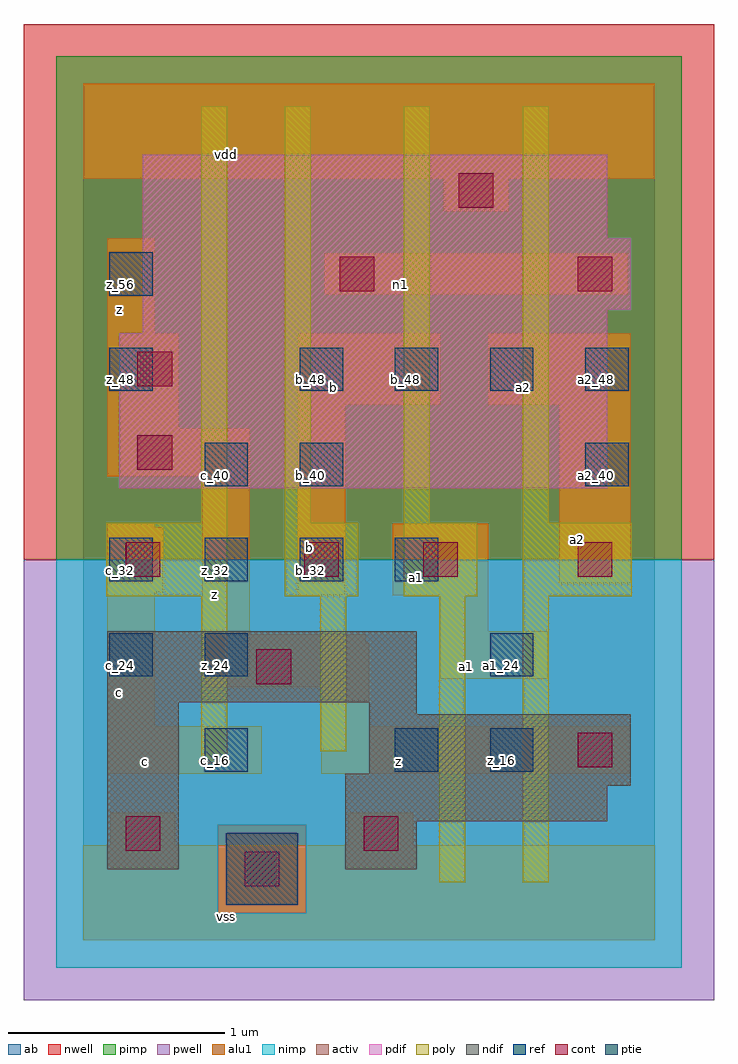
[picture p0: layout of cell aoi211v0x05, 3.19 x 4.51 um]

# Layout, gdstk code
import gdstk
lib = gdstk.Library(unit=1e-6, precision=2.5e-09)
def R(c, l, rs):  # rectangles x0, y0, x1, y1
    for r in rs: c.add(gdstk.rectangle(r[:2], r[2:], *l))
def A(c, l, x, y, w, h, nx, ny, dx, dy):  # array of equal rectangles
    R(c, l, [(x+i*dx, y+j*dy, x+i*dx+w, y+j*dy+h) for i in range(nx) for j in range(ny)])
ndif = (3, 0)
pdif = (4, 0)
ptie = (6, 0)
ref = (24, 0)
cont = (25, 0)
pwell = (41, 0)
nwell = (42, 0)
activ = (43, 0)
pimp = (44, 0)
nimp = (45, 0)
poly = (46, 0)
alu1 = (49, 0)
ab = (63, 0)

aoi211v0x05 = lib.new_cell('aoi211v0x05')
R(aoi211v0x05, ndif, [(0.11,0.33,0.44,1.1), (1.21,0.33,1.54,0.55), (1.21,0.55,2.42,0.715), (1.21,0.715,2.53,0.77), (1.32,0.77,2.53,1.045), (1.32,1.045,1.54,1.1), (0.11,1.1,1.54,1.43)])
R(aoi211v0x05, pdif, [(0.165,2.09,2.42,2.805), (0.275,2.805,2.42,2.915), (0.275,2.915,2.53,3.245), (0.275,3.245,2.42,3.63)])
R(aoi211v0x05, ptie, [(0.66,0.165,0.99,0.495)])
A(aoi211v0x05, ref, 0.12, 1.66, 0.2, 0.2, 4, 1, 0.44, 0)
A(aoi211v0x05, ref, 1, 2.54, 0.2, 0.2, 4, 1, 0.44, 0)
R(aoi211v0x05, ref, [(0.56,0.78,0.76,0.98), (1.44,0.78,1.64,0.98), (1.88,0.78,2.08,0.98), (0.12,1.22,0.32,1.42), (0.56,1.22,0.76,1.42), (1.88,1.22,2.08,1.42), (0.56,2.1,0.76,2.3), (1,2.1,1.2,2.3), (2.32,2.1,2.52,2.3), (0.12,2.54,0.32,2.74), (0.12,2.98,0.32,3.18)])
R(aoi211v0x05, cont, [(0.745,0.25,0.905,0.41), (0.195,0.415,0.355,0.575), (1.295,0.415,1.455,0.575), (2.285,0.8,2.445,0.96), (0.8,1.185,0.96,1.345), (0.195,1.68,0.355,1.84), (1.02,1.68,1.18,1.84), (1.57,1.68,1.73,1.84), (2.285,1.68,2.445,1.84), (0.25,2.175,0.41,2.335), (0.25,2.56,0.41,2.72), (1.185,3,1.345,3.16), (2.285,3,2.445,3.16), (1.735,3.385,1.895,3.545)])
R(aoi211v0x05, pwell, [(-0.275,-0.275,2.915,1.76)])
R(aoi211v0x05, nwell, [(-0.275,1.76,2.915,4.235)])
R(aoi211v0x05, activ, [(0.66,0.165,0.99,0.495), (0.11,0.33,0.44,1.1), (1.21,0.33,1.54,0.55), (1.21,0.55,2.42,0.715), (1.21,0.715,2.53,0.77), (1.32,0.77,2.53,1.045), (1.32,1.045,1.54,1.1), (0.11,1.1,1.54,1.43), (0.165,2.09,2.42,2.805), (0.275,2.805,2.42,2.915), (0.275,2.915,2.53,3.245), (0.275,3.245,2.42,3.63)])
R(aoi211v0x05, pimp, [(0.62,0.125,1.03,0.535), (-0.125,1.76,2.765,4.085)])
R(aoi211v0x05, nimp, [(-0.125,-0.125,2.765,0.125), (-0.125,0.125,0.62,0.535), (1.03,0.125,2.765,0.535), (-0.125,0.535,2.765,1.76)])
A(aoi211v0x05, poly, 0.93, 1.93, 0.12, 1.925, 3, 1, 0.55, 0)
R(aoi211v0x05, poly, [(1.645,0.27,1.765,1.59), (2.03,0.27,2.15,1.59), (0.545,0.82,0.665,1.59), (1.095,0.875,1.215,1.59), (0.105,1.59,0.665,1.93), (0.93,1.59,1.27,1.93), (1.48,1.59,1.82,1.93), (2.03,1.59,2.535,1.93), (0.545,1.93,0.665,3.855)])
R(aoi211v0x05, alu1, [(0,0,2.64,0.44), (0.125,0.44,0.425,0.59), (1.225,0.44,1.525,0.59), (0.11,0.77,0.825,0.99), (1.1,0.77,2.53,0.99), (0.11,0.99,0.33,1.61), (1.1,0.99,1.32,1.17), (0.565,1.17,1.32,1.21), (0.55,1.21,1.32,1.375), (1.65,1.21,2.145,1.43), (0.55,1.375,1.305,1.415), (0.55,1.415,0.77,2.145), (1.65,1.43,1.87,1.595), (0.99,1.595,1.21,2.475), (1.43,1.595,1.87,1.925), (0.11,1.61,0.37,1.91), (2.2,1.65,2.53,2.475), (0.11,1.91,0.33,1.925), (0.11,2.145,0.77,2.365), (0.11,2.365,0.44,2.805), (0.99,2.475,1.65,2.805), (1.87,2.475,2.53,2.805), (0.11,2.805,0.33,3.245), (1.115,2.985,2.515,3.175), (1.665,3.37,1.965,3.52), (0,3.52,2.64,3.96)])
R(aoi211v0x05, ab, [(0,0,2.64,3.96)])
aoi211v0x05.add(gdstk.Label('vss', (0.66,0.11), layer=49, texttype=0))
aoi211v0x05.add(gdstk.Label('z', (1.4575,0.825), layer=49, texttype=0))
aoi211v0x05.add(gdstk.Label('c', (0.2875,0.825), layer=49, texttype=0))
aoi211v0x05.add(gdstk.Label('a1', (1.7725,1.265), layer=49, texttype=0))
aoi211v0x05.add(gdstk.Label('a2', (2.2825,1.855), layer=49, texttype=0))
aoi211v0x05.add(gdstk.Label('a1', (1.54,1.6775), layer=49, texttype=0))
aoi211v0x05.add(gdstk.Label('b', (1.045,1.815), layer=49, texttype=0))
aoi211v0x05.add(gdstk.Label('z', (0.605,1.5975), layer=49, texttype=0))
aoi211v0x05.add(gdstk.Label('c', (0.165,1.145), layer=49, texttype=0))
aoi211v0x05.add(gdstk.Label('a2', (2.035,2.5575), layer=49, texttype=0))
aoi211v0x05.add(gdstk.Label('b', (1.155,2.5575), layer=49, texttype=0))
aoi211v0x05.add(gdstk.Label('n1', (1.465,3.0325), layer=49, texttype=0))
aoi211v0x05.add(gdstk.Label('z', (0.165,2.915), layer=49, texttype=0))
aoi211v0x05.add(gdstk.Label('vdd', (0.66,3.63), layer=49, texttype=0))
aoi211v0x05.add(gdstk.Label('c_40', (0.61,2.15), layer=24, texttype=0))
aoi211v0x05.add(gdstk.Label('b_40', (1.05,2.15), layer=24, texttype=0))
aoi211v0x05.add(gdstk.Label('b_48', (1.05,2.59), layer=24, texttype=0))
aoi211v0x05.add(gdstk.Label('z_16', (1.49,0.83), layer=24, texttype=0))
aoi211v0x05.add(gdstk.Label('b_48', (1.49,2.59), layer=24, texttype=0))
aoi211v0x05.add(gdstk.Label('z_16', (1.93,0.83), layer=24, texttype=0))
aoi211v0x05.add(gdstk.Label('a1_24', (1.93,1.27), layer=24, texttype=0))
aoi211v0x05.add(gdstk.Label('a2_48', (1.93,2.59), layer=24, texttype=0))
aoi211v0x05.add(gdstk.Label('z_48', (0.17,2.59), layer=24, texttype=0))
aoi211v0x05.add(gdstk.Label('a2_40', (2.37,2.15), layer=24, texttype=0))
aoi211v0x05.add(gdstk.Label('a2_48', (2.37,2.59), layer=24, texttype=0))
aoi211v0x05.add(gdstk.Label('c_32', (0.17,1.71), layer=24, texttype=0))
aoi211v0x05.add(gdstk.Label('z_24', (0.61,1.27), layer=24, texttype=0))
aoi211v0x05.add(gdstk.Label('c_16', (0.61,0.83), layer=24, texttype=0))
aoi211v0x05.add(gdstk.Label('z_32', (0.61,1.71), layer=24, texttype=0))
aoi211v0x05.add(gdstk.Label('c_24', (0.17,1.27), layer=24, texttype=0))
aoi211v0x05.add(gdstk.Label('a1_32', (1.49,1.71), layer=24, texttype=0))
aoi211v0x05.add(gdstk.Label('b_32', (1.05,1.71), layer=24, texttype=0))
aoi211v0x05.add(gdstk.Label('z_56', (0.17,3.03), layer=24, texttype=0))

lib.write_gds('aoi211v0x05.gds')
